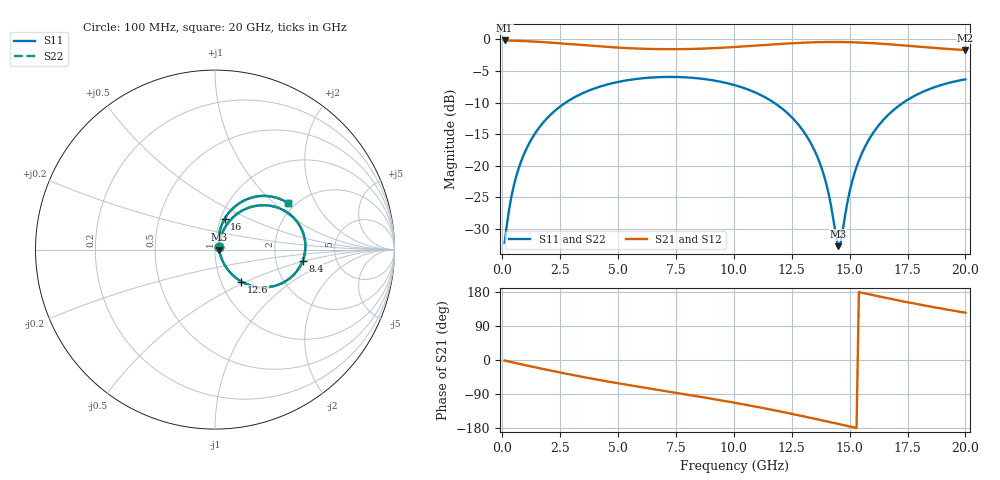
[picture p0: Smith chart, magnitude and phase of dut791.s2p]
! Touchstone file exported from HFSS 2026.1.0
!  File:  C:/ffzhzh/LocalFiles/Ansys_Project_Files/temp_train_TSV_RDL_791_1783261438_30076.aedt
!  Generated:  10:32:21 PM Jul  5, 2026
!  Design:  TSV_RDL
!  Project:  temp_train_TSV_RDL_791_1783261438_30076
! Variables:
!  h_bsmrdl = 3.09um
!  h_ox = 20um
!  h_rdl = 5um
!  h_sub = 93.88um
!  h_tmrdl = 5.75um
!  h_tsv = 93.88um
!  h_via = 3um
!  l_bsmrdl = 256.76um
!  l_sub = 3421.36um
!  l_tmrdl = 545.76um
!  m_sub = 200um
!  pitch = 45.1um
!  r_tsv = 13.7um
!  s_tmrdl = 10um
!  w_bsmrdl = 10.88um
!  w_sub = 500um
!  w_tmrdl = 11.8um
!  x_tsv_center1 = 551.66um
!  x_tsv_center2 = 819.3um
!  x_tsv_center3 = 1376.86um
!  x_tsv_center4 = 1644.5um
!  x_tsv_center5 = 2202.06um
!  x_tsv_center6 = 2469.7um
# GHz S MA R 50.000000
! Terminal data exported
! Port[1] = TM_RDL1_1_T1
! Port[2] = TM_RDL5_1_T1
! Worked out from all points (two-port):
!   200 points, 100 MHz to 20 GHz, reference 50 ohm
!   highest |S21| = -0.18 dB at 100 MHz (marker M1); lowest = -1.7 dB at 20 GHz (marker M2)
!   |S21| within 3 dB of the highest: start of sweep to end of sweep
!   lowest |S11| = -32.7 dB at 14.5 GHz (marker M3), VSWR 1.05, Z = 52.4 - j0.0982 ohm
!   |S11| at or under -10 dB: start of sweep to 2.74 GHz; 11.73 GHz to 17.32 GHz (5.597 GHz wide, 38.5 % of centre)
!   |S22| runs from -32.7 to -5.9 dB; largest |S21 - S12| = 1.6e-14
!   S11 on the Smith chart (normalised r, x): 100 MHz: 1.04, +0.03; 8.4 GHz: 2.85, -0.47; 12.6 GHz: 1.25, -0.47; 16 GHz: 1.05, +0.37; 20 GHz: 1.84, +1.24
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0.1  0.02461 32.5  0.9795 -1.4  0.9795 -1.4  0.02461 32.5
! Gamma 0 0 0 0
! Port Impedance 50 0 50 0
0.3  0.04579 58.0  0.9779 -4.2  0.9779 -4.2  0.04579 58.0
0.5  0.07001 64.6  0.9755 -7.0  0.9755 -7.0  0.07001 64.6
1.1  0.1431 65.4  0.9657 -15.1  0.9657 -15.1  0.1431 65.4
2.1  0.255 56.2  0.9413 -28.1  0.9413 -28.1  0.255 56.2
3.5  0.3771 40.9  0.8989 -45.0  0.8989 -45.0  0.3771 40.9
5.2  0.4679 23.4  0.8557 -63.5  0.8557 -63.5  0.4679 23.4
6.8  0.5026 8.0  0.8364 -79.7  0.8364 -79.7  0.5026 8.0
8.4  0.4926 -7.3  0.8414 -95.7  0.8414 -95.7  0.4926 -7.3
10.1  0.4309 -24.1  0.8708 -113.5  0.8708 -113.5  0.4309 -24.1
11.5  0.3357 -38.9  0.9063 -129.6  0.9063 -129.6  0.3357 -38.9
12.6  0.2316 -50.4  0.9329 -143.3  0.9329 -143.3  0.2315 -50.4
13.4  0.1422 -57.1  0.9466 -153.8  0.9466 -153.8  0.1421 -57.1
14  0.07108 -55.5  0.9518 -161.9  0.9518 -161.9  0.07103 -55.5
14.5  0.02314 -2.3  0.9522 -168.6  0.9522 -168.6  0.0231 -2.2
14.6  0.02401 27.3  0.9519 -170.0  0.9519 -170.0  0.02399 27.4
14.9  0.05097 67.7  0.9498 -174.0  0.9498 -174.0  0.05099 67.7
15.2  0.08607 74.9  0.9465 -178.1  0.9465 -178.1  0.0861 74.9
16  0.1802 72.6  0.9319 171.3  0.9319 171.3  0.1803 72.6
16.7  0.2561 66.0  0.9137 162.3  0.9137 162.3  0.2562 66.0
18.1  0.3799 51.3  0.8712 145.4  0.8712 145.4  0.3799 51.4
20  0.4826 32.3  0.8226 124.8  0.8226 124.8  0.4826 32.3
